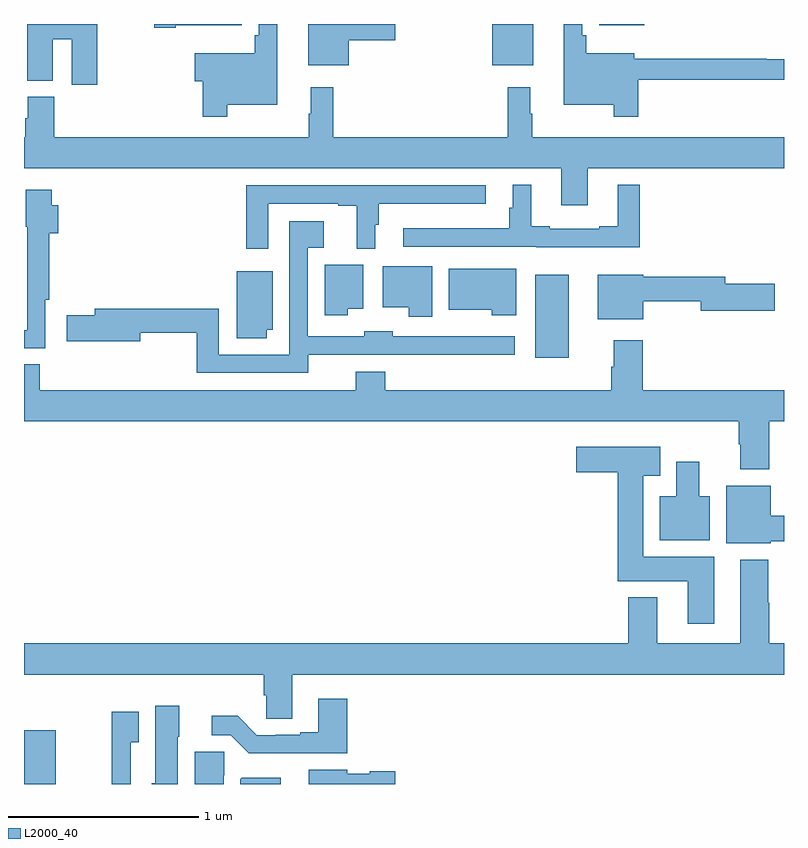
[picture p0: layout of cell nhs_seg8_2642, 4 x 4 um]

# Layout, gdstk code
import gdstk
lib = gdstk.Library(unit=1e-6, precision=1e-09)
def R(c, l, rs):  # rectangles x0, y0, x1, y1
    for r in rs: c.add(gdstk.rectangle(r[:2], r[2:], *l))
def P(c, l, *ps):  # polygons
    for p in ps: c.add(gdstk.Polygon(p, *l))
L2000_40 = (2000, 40)

nhs_seg8_2642 = lib.new_cell('nhs_seg8_2642')
R(nhs_seg8_2642, L2000_40, [(277,1139.9,277.168,1140.184), (279.692,1142.144,279.868,1142.581), (279.464,1143.683,279.679,1143.9), (280.028,1143.893,280.264,1143.9)])
P(nhs_seg8_2642, L2000_40, [(278.071,1143.476),(278.332,1143.476),(278.332,1143.9),(278.235,1143.9),(278.235,1143.841),(278.215,1143.841),(278.215,1143.745),(277.898,1143.745),(277.898,1143.598),(277.942,1143.598),(277.942,1143.411),(278.071,1143.411)],
  [(280.232,1143.606),(281,1143.606),(281,1143.715),(280.91,1143.715),(280.91,1143.716),(280.213,1143.716),(280.213,1143.745),(279.959,1143.745),(279.959,1143.841),(279.939,1143.841),(279.939,1143.9),(279.842,1143.9),(279.842,1143.476),(280.104,1143.476),(280.104,1143.411),(280.232,1143.411)],
  [(277.385,1143.9),(277.016,1143.9),(277.016,1143.601),(277.15,1143.601),(277.15,1143.82),(277.25,1143.82),(277.25,1143.579),(277.385,1143.579)],
  [(277.798,1143.893),(278.146,1143.893),(278.146,1143.9),(277.686,1143.9),(277.686,1143.881),(277.798,1143.881)],
  [(278.71,1143.815),(278.953,1143.815),(278.953,1143.9),(278.495,1143.9),(278.495,1143.683),(278.71,1143.683)],
  [(279.967,1143.14),(281,1143.14),(281,1143.304),(279.676,1143.304),(279.676,1143.428),(279.664,1143.428),(279.664,1143.568),(279.547,1143.568),(279.547,1143.304),(278.627,1143.304),(278.627,1143.568),(278.51,1143.568),(278.51,1143.428),(278.499,1143.428),(278.499,1143.304),(277.16,1143.304),(277.16,1143.516),(277.019,1143.516),(277.019,1143.405),(277.007,1143.405),(277.007,1143.304),(277,1143.304),(277,1143.14),(279.827,1143.14),(279.827,1142.946),(279.967,1142.946)],
  [(280.241,1143.055),(280.124,1143.055),(280.124,1142.836),(280.028,1142.836),(280.028,1142.823),(279.766,1142.823),(279.766,1142.836),(279.67,1142.836),(279.67,1143.055),(279.572,1143.055),(279.572,1142.934),(279.553,1142.934),(279.553,1142.824),(278.997,1142.824),(278.997,1142.727),(279.696,1142.727),(279.696,1142.726),(280.241,1142.726)],
  [(278.286,1142.955),(278.654,1142.955),(278.654,1142.943),(278.75,1142.943),(278.75,1142.718),(278.848,1142.718),(278.848,1142.844),(278.867,1142.844),(278.867,1142.954),(279.43,1142.954),(279.43,1143.051),(278.17,1143.051),(278.17,1142.718),(278.286,1142.718)],
  [(277.113,1142.449),(277.133,1142.449),(277.133,1142.798),(277.181,1142.798),(277.181,1142.946),(277.146,1142.946),(277.146,1143.028),(277.01,1143.028),(277.01,1142.832),(277.017,1142.832),(277.017,1142.289),(277,1142.289),(277,1142.193),(277.113,1142.193)],
  [(278.496,1142.159),(279.583,1142.159),(279.583,1142.257),(279.244,1142.257),(279.244,1142.256),(278.94,1142.256),(278.94,1142.284),(278.79,1142.284),(278.79,1142.256),(278.493,1142.256),(278.493,1142.723),(278.578,1142.723),(278.578,1142.863),(278.397,1142.863),(278.397,1142.16),(278.025,1142.16),(278.025,1142.402),(277.373,1142.402),(277.373,1142.366),(277.224,1142.366),(277.224,1142.231),(277.612,1142.231),(277.612,1142.274),(277.909,1142.274),(277.909,1142.064),(278.496,1142.064)],
  [(278.704,1142.402),(278.785,1142.402),(278.785,1142.632),(278.582,1142.632),(278.582,1142.366),(278.704,1142.366)],
  [(279.148,1142.626),(278.888,1142.626),(278.888,1142.408),(279.026,1142.408),(279.026,1142.358),(279.148,1142.358)],
  [(279.592,1142.611),(279.236,1142.611),(279.236,1142.396),(279.463,1142.396),(279.463,1142.366),(279.592,1142.366)],
  [(278.278,1142.291),(278.308,1142.291),(278.308,1142.599),(278.12,1142.599),(278.12,1142.245),(278.278,1142.245)],
  [(280.258,1142.442),(280.562,1142.442),(280.562,1142.392),(280.951,1142.392),(280.951,1142.534),(280.69,1142.534),(280.69,1142.57),(280.258,1142.57),(280.258,1142.581),(280.019,1142.581),(280.019,1142.345),(280.258,1142.345)],
  [(280.922,1141.808),(281,1141.808),(281,1141.972),(280.256,1141.972),(280.256,1142.236),(280.103,1142.236),(280.103,1142.096),(280.091,1142.096),(280.091,1141.972),(278.9,1141.972),(278.9,1142.071),(278.747,1142.071),(278.747,1141.972),(277.082,1141.972),(277.082,1142.108),(277,1142.108),(277,1141.808),(280.762,1141.808),(280.762,1141.688),(280.769,1141.688),(280.769,1141.556),(280.922,1141.556)],
  [(280.633,1141.096),(280.258,1141.096),(280.258,1141.523),(280.348,1141.523),(280.348,1141.675),(279.906,1141.675),(279.906,1141.541),(280.124,1141.541),(280.124,1140.968),(280.493,1140.968),(280.493,1140.744),(280.633,1140.744)],
  [(280.609,1141.414),(280.555,1141.414),(280.555,1141.597),(280.433,1141.597),(280.433,1141.414),(280.346,1141.414),(280.346,1141.184),(280.609,1141.184)],
  [(280.93,1141.177),(281,1141.177),(281,1141.313),(280.93,1141.313),(280.93,1141.471),(280.697,1141.471),(280.697,1141.166),(280.93,1141.166)],
  [(278.413,1140.476),(281,1140.476),(281,1140.64),(280.922,1140.64),(280.922,1140.855),(280.917,1140.855),(280.917,1141.081),(280.769,1141.081),(280.769,1140.64),(280.333,1140.64),(280.333,1140.883),(280.181,1140.883),(280.181,1140.64),(277,1140.64),(277,1140.476),(278.261,1140.476),(278.261,1140.366),(278.274,1140.366),(278.274,1140.244),(278.413,1140.244)],
  [(278.702,1140.349),(278.549,1140.349),(278.549,1140.172),(278.453,1140.172),(278.453,1140.159),(278.326,1140.159),(278.326,1140.156),(278.226,1140.156),(278.124,1140.259),(277.989,1140.259),(277.989,1140.156),(278.088,1140.156),(278.183,1140.062),(278.702,1140.062)],
  [(277.81,1140.15),(277.816,1140.15),(277.816,1140.313),(277.691,1140.313),(277.691,1139.904),(277.673,1139.904),(277.673,1139.9),(277.81,1139.9)],
  [(277.563,1140.119),(277.603,1140.119),(277.603,1140.28),(277.462,1140.28),(277.462,1139.9),(277.563,1139.9)],
  [(278.05,1139.946),(278.054,1139.946),(278.054,1140.069),(277.898,1140.069),(277.898,1139.9),(278.05,1139.9)],
  [(278.953,1139.966),(278.82,1139.966),(278.82,1139.953),(278.7,1139.953),(278.7,1139.974),(278.498,1139.974),(278.498,1139.9),(278.953,1139.9)],
  [(278.35,1139.932),(278.146,1139.932),(278.138,1139.924),(278.138,1139.9),(278.35,1139.9)])

lib.write_gds('nhs_seg8_2642.gds')
